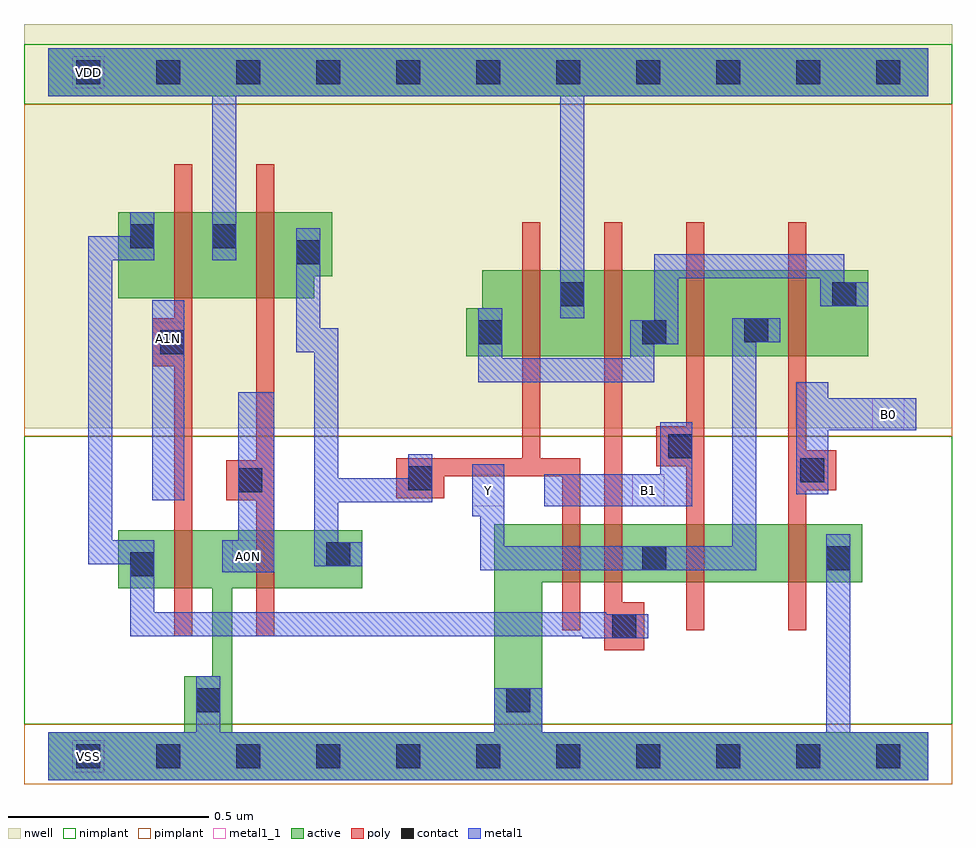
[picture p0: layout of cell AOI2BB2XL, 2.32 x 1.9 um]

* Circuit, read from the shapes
.subckt AOI2BB2XL A0N A1N B0 B1 VDD VSS Y
M1 VSS A1N n1 VSS nfet w=0.145u l=0.045u
M2 n2 A0N VSS VSS nfet w=0.145u l=0.045u
M3 n3 n2 VSS VSS nfet w=0.145u l=0.045u
M4 Y n1 n3 VSS nfet w=0.145u l=0.045u
M5 n4 B1 Y VSS nfet w=0.145u l=0.045u
M6 VSS B0 n4 VSS nfet w=0.145u l=0.045u
M7 VDD A1N n1 VDD pfet w=0.215u l=0.045u
M8 n2 A0N VDD VDD pfet w=0.215u l=0.045u
M9 VDD n2 n5 VDD pfet w=0.215u l=0.045u
M10 n5 n1 VDD VDD pfet w=0.215u l=0.045u
M11 Y B1 n5 VDD pfet w=0.215u l=0.045u
M12 n5 B0 Y VDD pfet w=0.215u l=0.045u
.ends

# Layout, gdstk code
import gdstk
lib = gdstk.Library(unit=1e-6, precision=5e-10)
def R(c, l, rs):  # rectangles x0, y0, x1, y1
    for r in rs: c.add(gdstk.rectangle(r[:2], r[2:], *l))
def A(c, l, x, y, w, h, nx, ny, dx, dy):  # array of equal rectangles
    R(c, l, [(x+i*dx, y+j*dy, x+i*dx+w, y+j*dy+h) for i in range(nx) for j in range(ny)])
def P(c, l, *ps):  # polygons
    for p in ps: c.add(gdstk.Polygon(p, *l))
active = (1, 0)
nwell = (2, 0)
poly = (3, 0)
nimplant = (4, 0)
pimplant = (5, 0)
contact = (6, 0)
metal1 = (7, 0)
metal1_1 = (7, 1)

aoi2bb2xl = lib.new_cell('AOI2BB2XL')
R(aoi2bb2xl, active, [(0,1.65,2.2,1.77)])
P(aoi2bb2xl, active, [(0.175,1.36),(0.71,1.36),(0.71,1.2),(0.665,1.2),(0.665,1.145),(0.175,1.145)],
  [(1.085,1.215),(2.05,1.215),(2.05,1),(1.045,1),(1.045,1.12),(1.085,1.12)],
  [(0.175,0.565),(0.785,0.565),(0.785,0.42),(0.46,0.42),(0.46,0.06),(1.115,0.06),(1.115,0.58),(2.035,0.58),(2.035,0.435),(1.235,0.435),(1.235,0.06),(2.2,0.06),(2.2,-0.06),(0,-0.06),(0,0.06),(0.34,0.06),(0.34,0.2),(0.41,0.2),(0.41,0.42),(0.175,0.42)])
R(aoi2bb2xl, nwell, [(-0.06,0.82,2.26,1.83)])
P(aoi2bb2xl, poly, [(0.315,1.48),(0.36,1.48),(0.36,0.3),(0.315,0.3),(0.315,0.975),(0.26,0.975),(0.26,1.095),(0.315,1.095)],
  [(0.52,1.48),(0.565,1.48),(0.565,0.3),(0.52,0.3),(0.52,0.64),(0.445,0.64),(0.445,0.74),(0.52,0.74)],
  [(1.185,1.335),(1.23,1.335),(1.23,0.745),(1.33,0.745),(1.33,0.315),(1.285,0.315),(1.285,0.7),(0.99,0.7),(0.99,0.645),(0.87,0.645),(0.87,0.745),(1.185,0.745)],
  [(1.39,1.335),(1.435,1.335),(1.435,0.385),(1.49,0.385),(1.49,0.265),(1.39,0.265)],
  [(1.595,1.335),(1.64,1.335),(1.64,0.315),(1.595,0.315),(1.595,0.725),(1.52,0.725),(1.52,0.825),(1.595,0.825)],
  [(1.85,1.335),(1.895,1.335),(1.895,0.765),(1.97,0.765),(1.97,0.665),(1.895,0.665),(1.895,0.315),(1.85,0.315)])
R(aoi2bb2xl, nimplant, [(-0.06,0.08,2.26,0.8), (-0.06,1.63,2.26,1.78)])
R(aoi2bb2xl, pimplant, [(-0.06,-0.07,2.26,0.08), (-0.06,0.8,2.26,1.63)])
A(aoi2bb2xl, contact, 0.07, -0.03, 0.06, 0.06, 11, 2, 0.2, 1.71)
R(aoi2bb2xl, contact, [(0.37,0.11,0.43,0.17), (1.145,0.11,1.205,0.17), (1.41,0.295,1.47,0.355), (0.205,0.45,0.265,0.51), (1.485,0.465,1.545,0.525), (1.945,0.465,2.005,0.525), (0.695,0.475,0.755,0.535), (0.475,0.66,0.535,0.72), (0.9,0.665,0.96,0.725), (1.88,0.685,1.94,0.745), (1.55,0.745,1.61,0.805), (0.28,1.005,0.34,1.065), (1.075,1.03,1.135,1.09), (1.485,1.03,1.545,1.09), (1.74,1.035,1.8,1.095), (1.28,1.125,1.34,1.185), (1.96,1.125,2.02,1.185), (0.62,1.23,0.68,1.29), (0.205,1.27,0.265,1.33), (0.41,1.27,0.47,1.33)])
R(aoi2bb2xl, metal1, [(0.26,0.64,0.34,1.14)])
P(aoi2bb2xl, metal1, [(0,1.77),(2.2,1.77),(2.2,1.65),(1.34,1.65),(1.34,1.095),(1.28,1.095),(1.28,1.65),(0.47,1.65),(0.47,1.24),(0.41,1.24),(0.41,1.65),(0,1.65)],
  [(0.205,1.36),(0.265,1.36),(0.265,1.24),(0.16,1.24),(0.16,0.54),(0.265,0.54),(0.265,0.36),(1.395,0.36),(1.395,0.355),(1.5,0.355),(1.5,0.295),(1.335,0.295),(1.335,0.3),(0.205,0.3),(0.205,0.48),(0.1,0.48),(0.1,1.3),(0.205,1.3)],
  [(0.62,1.32),(0.68,1.32),(0.68,1.07),(0.725,1.07),(0.725,0.695),(0.9,0.695),(0.9,0.755),(0.96,0.755),(0.96,0.635),(0.725,0.635),(0.725,0.535),(0.785,0.535),(0.785,0.475),(0.665,0.475),(0.665,1.01),(0.62,1.01)],
  [(0.475,0.91),(0.565,0.91),(0.565,0.46),(0.435,0.46),(0.435,0.54),(0.475,0.54)],
  [(1.515,1.255),(1.99,1.255),(1.99,1.185),(2.05,1.185),(2.05,1.125),(1.93,1.125),(1.93,1.195),(1.575,1.195),(1.575,1.03),(1.515,1.03),(1.515,0.935),(1.075,0.935),(1.075,1.12),(1.135,1.12),(1.135,0.995),(1.455,0.995),(1.455,1.09),(1.515,1.09)],
  [(1.71,1.095),(1.83,1.095),(1.83,1.035),(1.77,1.035),(1.77,0.465),(1.08,0.465),(1.08,0.6),(1.06,0.6),(1.06,0.73),(1.14,0.73),(1.14,0.525),(1.71,0.525)],
  [(1.53,0.835),(1.61,0.835),(1.61,0.625),(1.24,0.625),(1.24,0.705),(1.53,0.705)],
  [(1.87,0.935),(1.95,0.935),(1.95,0.895),(2.17,0.895),(2.17,0.815),(1.95,0.815),(1.95,0.655),(1.87,0.655)],
  [(0.37,0.2),(0.43,0.2),(0.43,0.06),(1.115,0.06),(1.115,0.17),(1.235,0.17),(1.235,0.06),(1.945,0.06),(1.945,0.555),(2.005,0.555),(2.005,0.06),(2.2,0.06),(2.2,-0.06),(0,-0.06),(0,0.06),(0.37,0.06)])
R(aoi2bb2xl, metal1_1, [(0.06,-0.04,0.14,0.04), (0.46,0.46,0.54,0.54), (1.06,0.625,1.14,0.705), (1.46,0.625,1.54,0.705), (2.06,0.815,2.14,0.895), (0.26,1.005,0.34,1.085), (0.06,1.67,0.14,1.75)])
aoi2bb2xl.add(gdstk.Label('B0', (2.1,0.855), layer=7, texttype=1))
aoi2bb2xl.add(gdstk.Label('B1', (1.5,0.665), layer=7, texttype=1))
aoi2bb2xl.add(gdstk.Label('A0N', (0.5,0.5), layer=7, texttype=1))
aoi2bb2xl.add(gdstk.Label('A1N', (0.3,1.045), layer=7, texttype=1))
aoi2bb2xl.add(gdstk.Label('Y', (1.1,0.665), layer=7, texttype=1))
aoi2bb2xl.add(gdstk.Label('VDD', (0.1,1.71), layer=7, texttype=1))
aoi2bb2xl.add(gdstk.Label('VSS', (0.1,0), layer=7, texttype=1))
aoi2bb2xl.add(gdstk.Label('AOI2BB2XL', (0,0), layer=63, texttype=0))

lib.write_gds('AOI2BB2XL.gds')
